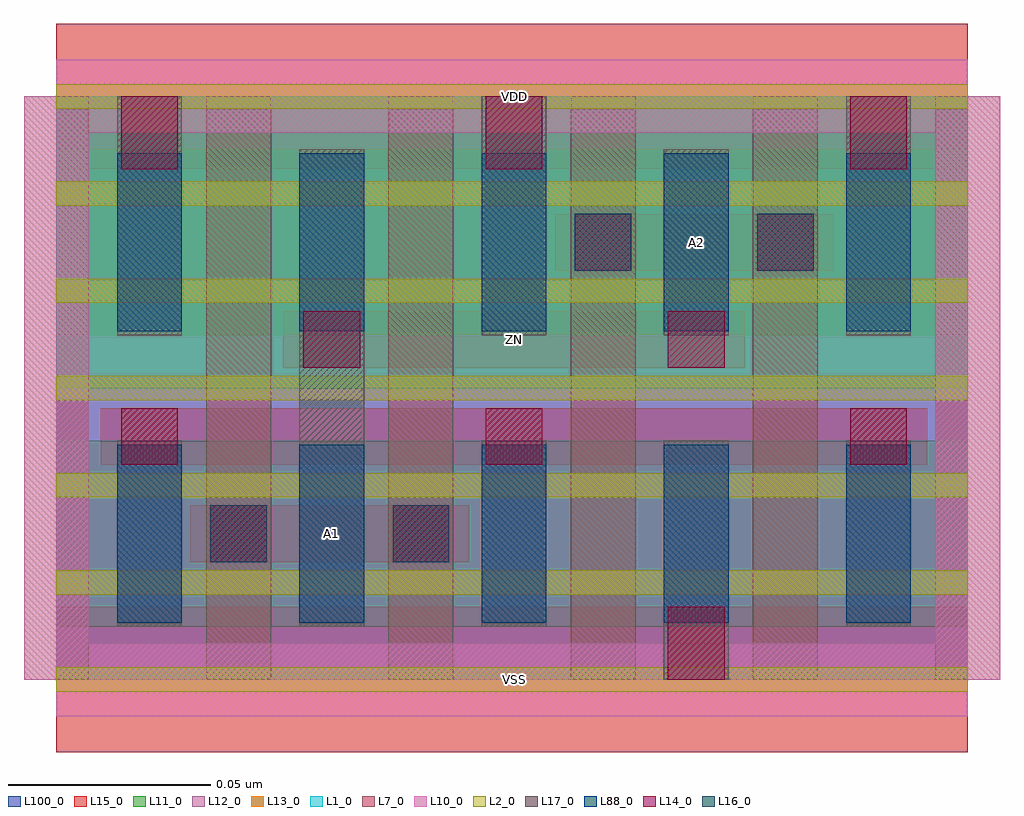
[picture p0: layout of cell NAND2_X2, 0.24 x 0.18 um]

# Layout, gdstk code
import gdstk
lib = gdstk.Library(unit=1e-6, precision=1e-09)
def R(c, l, rs):  # rectangles x0, y0, x1, y1
    for r in rs: c.add(gdstk.rectangle(r[:2], r[2:], *l))
def A(c, l, x, y, w, h, nx, ny, dx, dy):  # array of equal rectangles
    R(c, l, [(x+i*dx, y+j*dy, x+i*dx+w, y+j*dy+h) for i in range(nx) for j in range(ny)])
def P(c, l, *ps):  # polygons
    for p in ps: c.add(gdstk.Polygon(p, *l))
L1_0 = (1, 0)
L2_0 = (2, 0)
L7_0 = (7, 0)
L10_0 = (10, 0)
L11_0 = (11, 0)
L12_0 = (12, 0)
L13_0 = (13, 0)
L14_0 = (14, 0)
L15_0 = (15, 0)
L16_0 = (16, 0)
L17_0 = (17, 0)
L88_0 = (88, 0)
L100_0 = (100, 0)

nand2_x2 = lib.new_cell('NAND2_X2')
R(nand2_x2, L1_0, [(0,0.072,0.225,0.144)])
A(nand2_x2, L2_0, 0, -0.003, 0.225, 0.006, 1, 7, 0, 0.024)
A(nand2_x2, L7_0, -0.008, 0, 0.016, 0.144, 6, 1, 0.045, 0)
P(nand2_x2, L10_0, [(0,-0.009),(0,0),(-0.008,0),(-0.008,0.135),(0.008,0.135),(0.008,0.009),(0.217,0.009),(0.217,0.135),(-0.008,0.135),(-0.008,0.144),(0,0.144),(0,0.153),(0.225,0.153),(0.225,0.144),(0.233,0.144),(0.233,0),(0.225,0),(0.225,-0.009)])
R(nand2_x2, L11_0, [(0,0.013,0.225,0.059), (0,0.085,0.225,0.131)])
R(nand2_x2, L12_0, [(0,0,0.225,0.072)])
R(nand2_x2, L13_0, [(0,0.072,0.225,0.144)])
A(nand2_x2, L14_0, 0.016, 0.053, 0.014, 0.014, 3, 1, 0.09, 0)
A(nand2_x2, L14_0, 0.016, 0.126, 0.014, 0.018, 3, 1, 0.09, 0)
R(nand2_x2, L14_0, [(0.151,0,0.165,0.018), (0.038,0.029,0.052,0.043), (0.083,0.029,0.097,0.043), (0.061,0.077,0.075,0.091), (0.151,0.077,0.165,0.091), (0.128,0.101,0.142,0.115), (0.173,0.101,0.187,0.115)])
R(nand2_x2, L15_0, [(0,-0.018,0.225,0.018), (0.033,0.029,0.102,0.043), (0.011,0.053,0.215,0.067), (0.056,0.077,0.17,0.091), (0.123,0.101,0.192,0.115), (0,0.126,0.225,0.162)])
R(nand2_x2, L16_0, [(0.038,0.029,0.052,0.043), (0.083,0.029,0.097,0.043), (0.128,0.101,0.142,0.115), (0.173,0.101,0.187,0.115)])
A(nand2_x2, L17_0, 0.015, 0.013, 0.016, 0.046, 3, 1, 0.09, 0)
A(nand2_x2, L17_0, 0.015, 0.085, 0.016, 0.059, 3, 1, 0.09, 0)
R(nand2_x2, L17_0, [(0.15,0,0.166,0.059), (0.06,0.013,0.076,0.131), (0.15,0.085,0.166,0.131)])
A(nand2_x2, L88_0, 0.015, 0.014, 0.016, 0.044, 5, 2, 0.045, 0.072)
R(nand2_x2, L100_0, [(0,0,0.225,0.144)])
nand2_x2.add(gdstk.Label('ZN', (0.113,0.084), layer=15, texttype=251))
nand2_x2.add(gdstk.Label('VSS', (0.113,0), layer=15, texttype=251))
nand2_x2.add(gdstk.Label('VDD', (0.113,0.144), layer=15, texttype=251))
nand2_x2.add(gdstk.Label('A1', (0.068,0.036), layer=15, texttype=251))
nand2_x2.add(gdstk.Label('VSS', (0.113,0), layer=15, texttype=251))
nand2_x2.add(gdstk.Label('VDD', (0.113,0.144), layer=15, texttype=251))
nand2_x2.add(gdstk.Label('A2', (0.158,0.108), layer=15, texttype=251))
nand2_x2.add(gdstk.Label('VSS', (0.113,0), layer=15, texttype=251))
nand2_x2.add(gdstk.Label('VDD', (0.113,0.144), layer=15, texttype=251))
nand2_x2.add(gdstk.Label('VSS', (0.113,0), layer=3, texttype=251))
nand2_x2.add(gdstk.Label('VSS', (0.113,0), layer=3, texttype=251))
nand2_x2.add(gdstk.Label('VSS', (0.113,0), layer=3, texttype=251))
nand2_x2.add(gdstk.Label('VDD', (0.113,0.144), layer=1, texttype=251))
nand2_x2.add(gdstk.Label('VDD', (0.113,0.144), layer=1, texttype=251))
nand2_x2.add(gdstk.Label('VDD', (0.113,0.144), layer=1, texttype=251))

lib.write_gds('NAND2_X2.gds')
